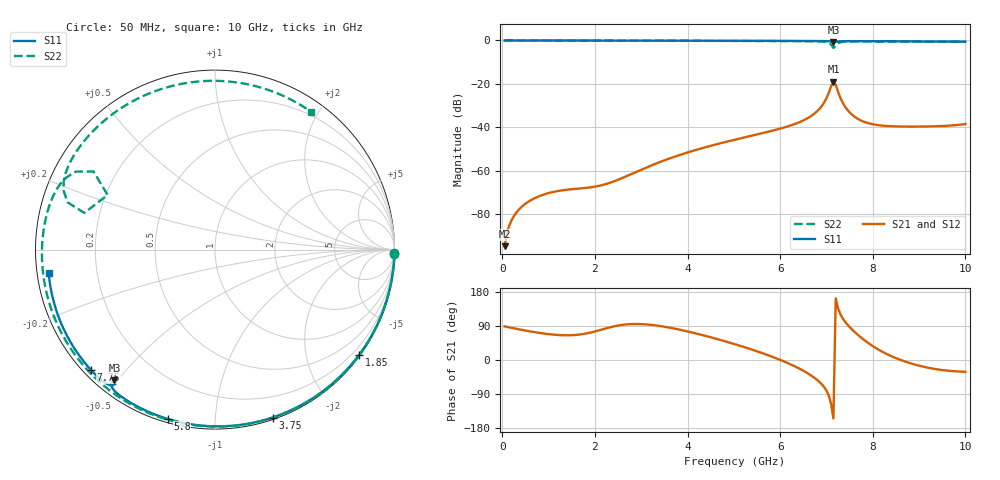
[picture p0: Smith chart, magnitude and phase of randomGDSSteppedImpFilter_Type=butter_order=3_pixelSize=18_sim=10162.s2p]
! freq	dB(S11)	phase(S11)	dB(S12)	phase(S12)
!  dB(S21)	phase(S21)	dB(S22)	phase(S22)
!S-par simulation data
#  GHz  S  DB  R 50
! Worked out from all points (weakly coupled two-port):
!   200 points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, 50 MHz to 10 GHz, reference 50 ohm
!   highest |S21| = -18.97 dB at 7.15 GHz (marker M1); lowest = -94.9 dB at 50 MHz (marker M2)
!   lowest |S11| = -0.7 dB at 7.15 GHz (marker M3), VSWR 23.91, Z = 2.6 - j24.6 ohm
!   |S11| at or under -10 dB: nowhere
!   |S22| runs from -3.5 to 0.0 dB; largest |S21 - S12| = 0
!   S11 on the Smith chart (normalised r, x): 50 MHz: open; 1.85 GHz: 0.03, -3.06; 3.75 GHz: 0.02, -1.40; 5.8 GHz: 0.02, -0.76; 7.75 GHz: 0.02, -0.40; 10 GHz: 0.03, -0.07
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0.05  -0.00 -1.0  -94.89 88.7  -94.89 88.7  -0.00 -1.6
0.3  -0.01 -6.0  -79.49 82.4  -79.49 82.4  -0.01 -9.3
0.55  -0.01 -10.9  -74.55 76.6  -74.55 76.6  -0.02 -16.9
0.9  -0.02 -17.8  -71.04 69.8  -71.04 69.8  -0.04 -27.5
1.75  -0.04 -34.3  -68.13 68.6  -68.13 68.6  -0.07 -52.8
1.85  -0.05 -36.2  -67.91 70.9  -67.91 70.9  -0.07 -55.7
2.6  -0.07 -50.3  -63.36 92.8  -63.36 92.8  -0.10 -77.2
3.4  -0.09 -64.9  -56.11 89.8  -56.11 89.8  -0.13 -99.4
3.75  -0.10 -71.1  -53.41 82.1  -53.41 82.1  -0.14 -109.0
5.05  -0.14 -93.3  -45.63 40.7  -45.63 40.7  -0.22 -144.2
5.8  -0.18 -105.6  -41.80 9.9  -41.80 9.9  -0.27 -165.1
6.7  -0.24 -120.3  -34.39 -43.5  -34.39 -43.5  -0.38 167.4
6.9  -0.27 -123.7  -30.20 -64.2  -30.20 -64.2  -0.49 159.6
7.05  -0.37 -126.8  -24.17 -93.9  -24.17 -93.9  -1.03 150.7
7.15  -0.73 -127.5  -18.97 -154.3  -18.97 -154.3  -3.46 153.0
7.2  -0.63 -126.5  -20.45 162.7  -20.45 162.7  -2.43 164.3
7.3  -0.38 -128.1  -26.45 120.9  -26.45 120.9  -0.85 158.6
7.5  -0.32 -131.8  -33.18 87.1  -33.18 87.1  -0.51 148.5
7.75  -0.33 -135.9  -36.97 58.9  -36.97 58.9  -0.47 139.0
8.35  -0.38 -145.4  -39.52 13.0  -39.52 13.0  -0.49 117.5
9.2  -0.47 -159.0  -39.67 -20.6  -39.67 -20.6  -0.54 86.0
10  -0.58 -172.1  -38.55 -31.0  -38.55 -31.0  -0.58 55.1
